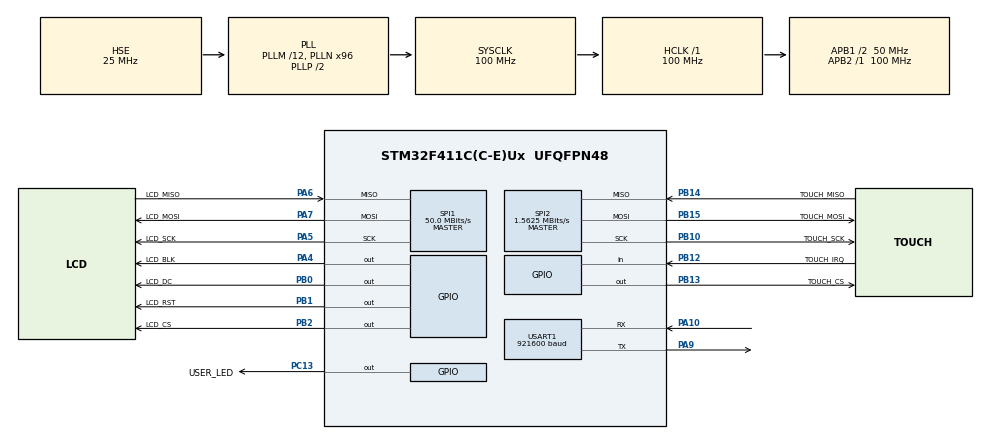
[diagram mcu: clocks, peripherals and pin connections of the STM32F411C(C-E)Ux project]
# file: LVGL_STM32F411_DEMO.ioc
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Dma.Request0=SPI1_TX
Dma.SPI1_TX.0.Direction=DMA_MEMORY_TO_PERIPH
Dma.SPI1_TX.0.FIFOMode=DMA_FIFOMODE_DISABLE
Dma.SPI1_TX.0.Instance=DMA2_Stream3
Dma.SPI1_TX.0.MemDataAlignment=DMA_MDATAALIGN_BYTE
Dma.SPI1_TX.0.MemInc=DMA_MINC_ENABLE
Dma.SPI1_TX.0.Mode=DMA_NORMAL
Dma.SPI1_TX.0.PeriphDataAlignment=DMA_PDATAALIGN_BYTE
Dma.SPI1_TX.0.PeriphInc=DMA_PINC_DISABLE
Dma.SPI1_TX.0.Priority=DMA_PRIORITY_VERY_HIGH
Mcu.Family=STM32F4
Mcu.Name=STM32F411C(C-E)Ux
Mcu.Package=UFQFPN48
NVIC.DMA2_Stream3_IRQn=true\:1\:0\:true\:false\:true\:false\:true\:true
NVIC.PriorityGroup=NVIC_PRIORITYGROUP_4
NVIC.TIM3_IRQn=true\:1\:0\:true\:false\:true\:true\:true\:true
PA10.Mode=Asynchronous
PA10.Signal=USART1_RX
PA13.Mode=Serial_Wire
PA13.Signal=SYS_JTMS-SWDIO
PA14.Mode=Serial_Wire
PA14.Signal=SYS_JTCK-SWCLK
PA4.GPIO_Label=LCD_BLK
PA4.GPIO_ModeDefaultOutputPP=GPIO_MODE_OUTPUT_PP
PA4.GPIO_PuPd=GPIO_NOPULL
PA4.GPIO_Speed=GPIO_SPEED_FREQ_VERY_HIGH
PA4.PinState=GPIO_PIN_RESET
PA4.Signal=GPIO_Output
PA5.GPIO_Label=LCD_SCK
PA5.Mode=Full_Duplex_Master
PA5.Signal=SPI1_SCK
PA6.GPIO_Label=LCD_MISO
PA6.Mode=Full_Duplex_Master
PA6.Signal=SPI1_MISO
PA7.GPIO_Label=LCD_MOSI
PA7.Mode=Full_Duplex_Master
PA7.Signal=SPI1_MOSI
PA9.Mode=Asynchronous
PA9.Signal=USART1_TX
PB0.GPIO_Label=LCD_DC
PB0.GPIO_ModeDefaultOutputPP=GPIO_MODE_OUTPUT_PP
PB0.GPIO_PuPd=GPIO_NOPULL
PB0.GPIO_Speed=GPIO_SPEED_FREQ_VERY_HIGH
PB0.PinState=GPIO_PIN_SET
PB0.Signal=GPIO_Output
PB1.GPIO_Label=LCD_RST
PB1.GPIO_ModeDefaultOutputPP=GPIO_MODE_OUTPUT_PP
PB1.GPIO_PuPd=GPIO_NOPULL
PB1.GPIO_Speed=GPIO_SPEED_FREQ_VERY_HIGH
PB1.PinState=GPIO_PIN_SET
PB1.Signal=GPIO_Output
PB10.GPIO_Label=TOUCH_SCK
PB10.Mode=Full_Duplex_Master
PB10.Signal=SPI2_SCK
PB12.GPIO_Label=TOUCH_IRQ
PB12.Signal=GPIO_Input
PB13.GPIO_Label=TOUCH_CS
PB13.Signal=GPIO_Output
PB14.GPIO_Label=TOUCH_MISO
PB14.Mode=Full_Duplex_Master
PB14.Signal=SPI2_MISO
PB15.GPIO_Label=TOUCH_MOSI
PB15.Mode=Full_Duplex_Master
PB15.Signal=SPI2_MOSI
PB2.GPIO_Label=LCD_CS
PB2.GPIO_ModeDefaultOutputPP=GPIO_MODE_OUTPUT_PP
PB2.GPIO_PuPd=GPIO_NOPULL
PB2.GPIO_Speed=GPIO_SPEED_FREQ_VERY_HIGH
PB2.PinState=GPIO_PIN_SET
PB2.Signal=GPIO_Output
PC13-ANTI_TAMP.GPIO_Label=USER_LED
PC13-ANTI_TAMP.GPIO_ModeDefaultOutputPP=GPIO_MODE_OUTPUT_OD
PC13-ANTI_TAMP.GPIO_Speed=GPIO_SPEED_FREQ_LOW
PC13-ANTI_TAMP.PinState=GPIO_PIN_SET
PC13-ANTI_TAMP.Signal=GPIO_Output
PH0\ -\ OSC_IN.Mode=HSE-External-Oscillator
PH0\ -\ OSC_IN.Signal=RCC_OSC_IN
PH1\ -\ OSC_OUT.Mode=HSE-External-Oscillator
PH1\ -\ OSC_OUT.Signal=RCC_OSC_OUT
ProjectManager.HeapSize=0x200
ProjectManager.StackSize=0x400
ProjectManager.TargetToolchain=STM32CubeIDE
RCC.48MHZClocksFreq_Value=50000000
RCC.AHBFreq_Value=100000000
RCC.APB1CLKDivider=RCC_HCLK_DIV2
RCC.APB1Freq_Value=50000000
RCC.APB1TimFreq_Value=100000000
RCC.APB2Freq_Value=100000000
RCC.APB2TimFreq_Value=100000000
RCC.CortexFreq_Value=100000000
RCC.EnbaleCSS=true
RCC.HCLKFreq_Value=100000000
RCC.HSE_VALUE=25000000
RCC.HSI_VALUE=16000000
RCC.LSE_VALUE=32768
RCC.PLLM=12
RCC.PLLN=96
RCC.PLLSourceVirtual=RCC_PLLSOURCE_HSE
RCC.SYSCLKFreq_VALUE=100000000
RCC.SYSCLKSource=RCC_SYSCLKSOURCE_PLLCLK
RCC.VCOOutputFreq_Value=200000000
SPI1.BaudRatePrescaler=SPI_BAUDRATEPRESCALER_2
SPI1.CalculateBaudRate=50.0 MBits/s
SPI1.Direction=SPI_DIRECTION_2LINES
SPI1.Mode=SPI_MODE_MASTER
SPI1.VirtualType=VM_MASTER
SPI2.BaudRatePrescaler=SPI_BAUDRATEPRESCALER_32
SPI2.CalculateBaudRate=1.5625 MBits/s
SPI2.Direction=SPI_DIRECTION_2LINES
SPI2.Mode=SPI_MODE_MASTER
SPI2.VirtualType=VM_MASTER
TIM3.Period=4999
TIM3.Prescaler=99
USART1.BaudRate=921600
USART1.VirtualMode=VM_ASYNC
VP_TIM3_VS_ClockSourceINT.Mode=Internal
board=custom

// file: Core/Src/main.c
/* USER CODE BEGIN Header */
/**
  ******************************************************************************
  * @file           : main.c
  * @brief          : Main program body
  ******************************************************************************
  * @attention
  *
  * <h2><center>&copy; Copyright (c) 2021 STMicroelectronics.
  * All rights reserved.</center></h2>
  *
  * This software component is licensed by ST under BSD 3-Clause license,
  * the "License"; You may not use this file except in compliance with the
  * License. You may obtain a copy of the License at:
  *                        opensource.org/licenses/BSD-3-Clause
  *
  ******************************************************************************
  */
/* USER CODE END Header */
#include "main.h"

/* USER CODE BEGIN Includes */
#include "lvgl/lvgl.h"
#include "hal_stm_lvgl/tft/tft.h"
#include "hal_stm_lvgl/touch/touchpad.h"
#include "lv_examples.h"
/* USER CODE END Includes */

SPI_HandleTypeDef hspi1;
SPI_HandleTypeDef hspi2;
DMA_HandleTypeDef hdma_spi1_tx;

TIM_HandleTypeDef htim3;

UART_HandleTypeDef huart1;

/* USER CODE BEGIN PV */
GPIO_TypeDef *gpioa = GPIOA;
/* USER CODE END PV */

void SystemClock_Config(void);
static void MX_GPIO_Init(void);
static void MX_DMA_Init(void);
static void MX_TIM3_Init(void);
static void MX_SPI2_Init(void);
static void MX_USART1_UART_Init(void);

/* USER CODE BEGIN 0 */

// Send printf to uart1
int _write(int fd, char* ptr, int len) {
  HAL_StatusTypeDef hstatus;

  if (fd == 1 || fd == 2) {
    hstatus = HAL_UART_Transmit(&huart1, (uint8_t *) ptr, len, HAL_MAX_DELAY);
    if (hstatus == HAL_OK)
      return len;
    else
      return -1;
  }
  return -1;
}

/* USER CODE END 0 */

int main(void)
{

  /* MCU Configuration--------------------------------------------------------*/

  /* Reset of all peripherals, Initializes the Flash interface and the Systick. */
  HAL_Init();

  /* Configure the system clock */
  SystemClock_Config();

  /* Initialize all configured peripherals */
  MX_GPIO_Init();
  MX_DMA_Init();
  MX_SPI1_Init();
  MX_TIM3_Init();
  MX_SPI2_Init();
  MX_USART1_UART_Init();
  /* USER CODE BEGIN 2 */

  DBG("\n\n\n\nStarting\n--------");

  lv_init();
  tft_init();
  touchpad_init();

  lv_demo_widgets();
  //lv_demo_stress();

  //HAL_GPIO_WritePin(LCD_BLK_GPIO_Port, LCD_BLK_Pin, GPIO_PIN_RESET);

  HAL_TIM_Base_Start_IT(&htim3);

  /* USER CODE END 2 */

  /* Infinite loop */
  /* USER CODE BEGIN WHILE */

  uint32_t now = 0, last_blink = 0, last_lv = 0;

  while (1)
  {

	  now = HAL_GetTick();

	  if (now - last_blink >= 500) {
		  HAL_GPIO_TogglePin(USER_LED_GPIO_Port, USER_LED_Pin);
		  last_blink = now;
	  }

	  if (now - last_lv >= 25) {
		  lv_task_handler();
		  //HAL_GPIO_WritePin(LCD_BLK_GPIO_Port, LCD_BLK_Pin, GPIO_PIN_RESET);
		  last_lv = now;
	  }

	  //ILI9341_Test();
	  //HAL_GPIO_TogglePin(USER_LED_GPIO_Port, USER_LED_Pin);

    /* USER CODE END WHILE */

  }
}

void SystemClock_Config(void)
{
  RCC_OscInitTypeDef RCC_OscInitStruct = {0};
  RCC_ClkInitTypeDef RCC_ClkInitStruct = {0};

  /** Configure the main internal regulator output voltage
  */
  __HAL_RCC_PWR_CLK_ENABLE();
  __HAL_PWR_VOLTAGESCALING_CONFIG(PWR_REGULATOR_VOLTAGE_SCALE1);

  /** Initializes the RCC Oscillators according to the specified parameters
  * in the RCC_OscInitTypeDef structure.
  */
  RCC_OscInitStruct.OscillatorType = RCC_OSCILLATORTYPE_HSE;
  RCC_OscInitStruct.HSEState = RCC_HSE_ON;
  RCC_OscInitStruct.PLL.PLLState = RCC_PLL_ON;
  RCC_OscInitStruct.PLL.PLLSource = RCC_PLLSOURCE_HSE;
  RCC_OscInitStruct.PLL.PLLM = 12;
  RCC_OscInitStruct.PLL.PLLN = 96;
  RCC_OscInitStruct.PLL.PLLP = RCC_PLLP_DIV2;
  RCC_OscInitStruct.PLL.PLLQ = 4;
  if (HAL_RCC_OscConfig(&RCC_OscInitStruct) != HAL_OK)
  {
    Error_Handler();
  }

  /** Initializes the CPU, AHB and APB buses clocks
  */
  RCC_ClkInitStruct.ClockType = RCC_CLOCKTYPE_HCLK|RCC_CLOCKTYPE_SYSCLK
                              |RCC_CLOCKTYPE_PCLK1|RCC_CLOCKTYPE_PCLK2;
  RCC_ClkInitStruct.SYSCLKSource = RCC_SYSCLKSOURCE_PLLCLK;
  RCC_ClkInitStruct.AHBCLKDivider = RCC_SYSCLK_DIV1;
  RCC_ClkInitStruct.APB1CLKDivider = RCC_HCLK_DIV2;
  RCC_ClkInitStruct.APB2CLKDivider = RCC_HCLK_DIV1;

  if (HAL_RCC_ClockConfig(&RCC_ClkInitStruct, FLASH_LATENCY_3) != HAL_OK)
  {
    Error_Handler();
  }

  /** Enables the Clock Security System
  */
  HAL_RCC_EnableCSS();
}

void MX_SPI1_Init(void)
{

  /* SPI1 parameter configuration*/
  hspi1.Instance = SPI1;
  hspi1.Init.Mode = SPI_MODE_MASTER;
  hspi1.Init.Direction = SPI_DIRECTION_2LINES;
  hspi1.Init.DataSize = SPI_DATASIZE_8BIT;
  hspi1.Init.CLKPolarity = SPI_POLARITY_LOW;
  hspi1.Init.CLKPhase = SPI_PHASE_1EDGE;
  hspi1.Init.NSS = SPI_NSS_SOFT;
  hspi1.Init.BaudRatePrescaler = SPI_BAUDRATEPRESCALER_2;
  hspi1.Init.FirstBit = SPI_FIRSTBIT_MSB;
  hspi1.Init.TIMode = SPI_TIMODE_DISABLE;
  hspi1.Init.CRCCalculation = SPI_CRCCALCULATION_DISABLE;
  hspi1.Init.CRCPolynomial = 10;
  if (HAL_SPI_Init(&hspi1) != HAL_OK)
  {
    Error_Handler();
  }

}

static void MX_SPI2_Init(void)
{

  /* SPI2 parameter configuration*/
  hspi2.Instance = SPI2;
  hspi2.Init.Mode = SPI_MODE_MASTER;
  hspi2.Init.Direction = SPI_DIRECTION_2LINES;
  hspi2.Init.DataSize = SPI_DATASIZE_8BIT;
  hspi2.Init.CLKPolarity = SPI_POLARITY_LOW;
  hspi2.Init.CLKPhase = SPI_PHASE_1EDGE;
  hspi2.Init.NSS = SPI_NSS_SOFT;
  hspi2.Init.BaudRatePrescaler = SPI_BAUDRATEPRESCALER_32;
  hspi2.Init.FirstBit = SPI_FIRSTBIT_MSB;
  hspi2.Init.TIMode = SPI_TIMODE_DISABLE;
  hspi2.Init.CRCCalculation = SPI_CRCCALCULATION_DISABLE;
  hspi2.Init.CRCPolynomial = 10;
  if (HAL_SPI_Init(&hspi2) != HAL_OK)
  {
    Error_Handler();
  }

}

static void MX_TIM3_Init(void)
{

  TIM_ClockConfigTypeDef sClockSourceConfig = {0};
  TIM_MasterConfigTypeDef sMasterConfig = {0};

  htim3.Instance = TIM3;
  htim3.Init.Prescaler = 99;
  htim3.Init.CounterMode = TIM_COUNTERMODE_UP;
  htim3.Init.Period = 4999;
  htim3.Init.ClockDivision = TIM_CLOCKDIVISION_DIV1;
  htim3.Init.AutoReloadPreload = TIM_AUTORELOAD_PRELOAD_DISABLE;
  if (HAL_TIM_Base_Init(&htim3) != HAL_OK)
  {
    Error_Handler();
  }
  sClockSourceConfig.ClockSource = TIM_CLOCKSOURCE_INTERNAL;
  if (HAL_TIM_ConfigClockSource(&htim3, &sClockSourceConfig) != HAL_OK)
  {
    Error_Handler();
  }
  sMasterConfig.MasterOutputTrigger = TIM_TRGO_RESET;
  sMasterConfig.MasterSlaveMode = TIM_MASTERSLAVEMODE_DISABLE;
  if (HAL_TIMEx_MasterConfigSynchronization(&htim3, &sMasterConfig) != HAL_OK)
  {
    Error_Handler();
  }

}

static void MX_USART1_UART_Init(void)
{

  huart1.Instance = USART1;
  huart1.Init.BaudRate = 921600;
  huart1.Init.WordLength = UART_WORDLENGTH_8B;
  huart1.Init.StopBits = UART_STOPBITS_1;
  huart1.Init.Parity = UART_PARITY_NONE;
  huart1.Init.Mode = UART_MODE_TX_RX;
  huart1.Init.HwFlowCtl = UART_HWCONTROL_NONE;
  huart1.Init.OverSampling = UART_OVERSAMPLING_16;
  if (HAL_UART_Init(&huart1) != HAL_OK)
  {
    Error_Handler();
  }

}

static void MX_DMA_Init(void)
{

  /* DMA controller clock enable */
  __HAL_RCC_DMA2_CLK_ENABLE();

  /* DMA interrupt init */
  /* DMA2_Stream3_IRQn interrupt configuration */
  HAL_NVIC_SetPriority(DMA2_Stream3_IRQn, 1, 0);
  HAL_NVIC_EnableIRQ(DMA2_Stream3_IRQn);

}

static void MX_GPIO_Init(void)
{
  GPIO_InitTypeDef GPIO_InitStruct = {0};

  /* GPIO Ports Clock Enable */
  __HAL_RCC_GPIOC_CLK_ENABLE();
  __HAL_RCC_GPIOH_CLK_ENABLE();
  __HAL_RCC_GPIOA_CLK_ENABLE();
  __HAL_RCC_GPIOB_CLK_ENABLE();

  /*Configure GPIO pin Output Level */
  HAL_GPIO_WritePin(USER_LED_GPIO_Port, USER_LED_Pin, GPIO_PIN_SET);

  /*Configure GPIO pin Output Level */
  HAL_GPIO_WritePin(LCD_BLK_GPIO_Port, LCD_BLK_Pin, GPIO_PIN_RESET);

  /*Configure GPIO pin Output Level */
  HAL_GPIO_WritePin(GPIOB, LCD_DC_Pin|LCD_RST_Pin|LCD_CS_Pin, GPIO_PIN_SET);

  /*Configure GPIO pin Output Level */
  HAL_GPIO_WritePin(TOUCH_CS_GPIO_Port, TOUCH_CS_Pin, GPIO_PIN_RESET);

  /*Configure GPIO pin : USER_LED_Pin */
  GPIO_InitStruct.Pin = USER_LED_Pin;
  GPIO_InitStruct.Mode = GPIO_MODE_OUTPUT_OD;
  GPIO_InitStruct.Pull = GPIO_NOPULL;
  GPIO_InitStruct.Speed = GPIO_SPEED_FREQ_LOW;
  HAL_GPIO_Init(USER_LED_GPIO_Port, &GPIO_InitStruct);

  /*Configure GPIO pin : LCD_BLK_Pin */
  GPIO_InitStruct.Pin = LCD_BLK_Pin;
  GPIO_InitStruct.Mode = GPIO_MODE_OUTPUT_PP;
  GPIO_InitStruct.Pull = GPIO_NOPULL;
  GPIO_InitStruct.Speed = GPIO_SPEED_FREQ_VERY_HIGH;
  HAL_GPIO_Init(LCD_BLK_GPIO_Port, &GPIO_InitStruct);

  /*Configure GPIO pins : LCD_DC_Pin LCD_RST_Pin LCD_CS_Pin */
  GPIO_InitStruct.Pin = LCD_DC_Pin|LCD_RST_Pin|LCD_CS_Pin;
  GPIO_InitStruct.Mode = GPIO_MODE_OUTPUT_PP;
  GPIO_InitStruct.Pull = GPIO_NOPULL;
  GPIO_InitStruct.Speed = GPIO_SPEED_FREQ_VERY_HIGH;
  HAL_GPIO_Init(GPIOB, &GPIO_InitStruct);

  /*Configure GPIO pin : TOUCH_IRQ_Pin */
  GPIO_InitStruct.Pin = TOUCH_IRQ_Pin;
  GPIO_InitStruct.Mode = GPIO_MODE_INPUT;
  GPIO_InitStruct.Pull = GPIO_NOPULL;
  HAL_GPIO_Init(TOUCH_IRQ_GPIO_Port, &GPIO_InitStruct);

  /*Configure GPIO pin : TOUCH_CS_Pin */
  GPIO_InitStruct.Pin = TOUCH_CS_Pin;
  GPIO_InitStruct.Mode = GPIO_MODE_OUTPUT_PP;
  GPIO_InitStruct.Pull = GPIO_NOPULL;
  GPIO_InitStruct.Speed = GPIO_SPEED_FREQ_LOW;
  HAL_GPIO_Init(TOUCH_CS_GPIO_Port, &GPIO_InitStruct);

}

/* USER CODE BEGIN 4 */
void HAL_TIM_PeriodElapsedCallback(TIM_HandleTypeDef *htim)
{
  /* Prevent unused argument(s) compilation warning */
  UNUSED(htim);

	if(htim->Instance == TIM3)
	{
		lv_tick_inc(5);      /*Tell LVGL that 5 milliseconds were elapsed*/
	}

  /* NOTE : This function should not be modified, when the callback is needed,
            the HAL_TIM_PeriodElapsedCallback could be implemented in the user file
   */
}

/* USER CODE END 4 */

void Error_Handler(void)
{
  __disable_irq();
  while (1)
  {
  }
}
